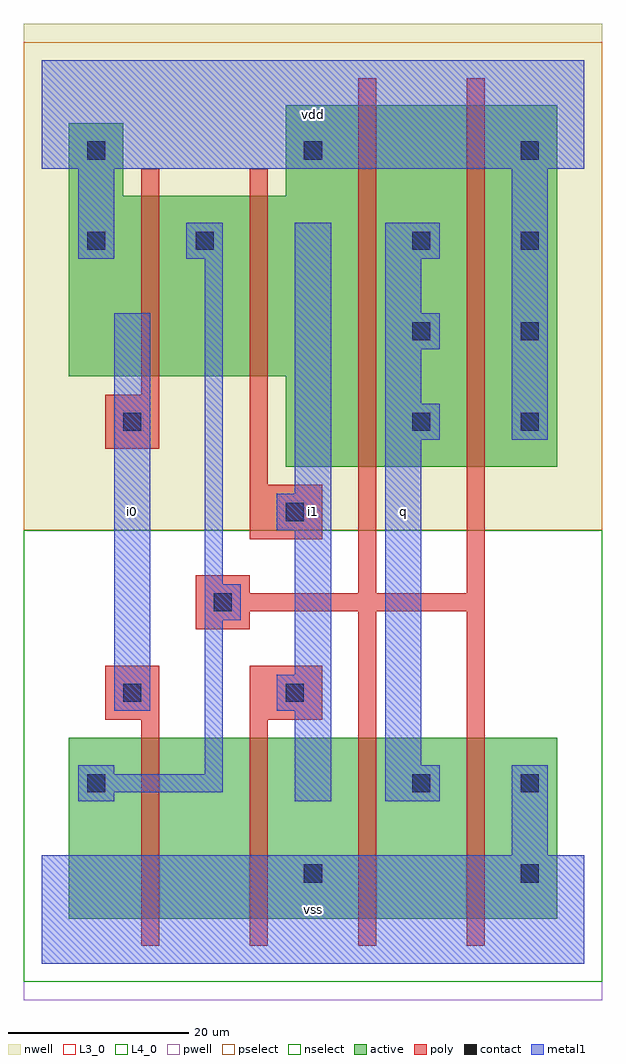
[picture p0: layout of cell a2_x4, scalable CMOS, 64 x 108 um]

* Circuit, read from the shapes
.subckt a2_x4 i0 i1 q vdd vss
M1 n1 i0 n2 VSUBS nfet w=20u l=2u
M2 vss i1 n1 VSUBS nfet w=20u l=2u
M3 q n2 vss VSUBS nfet w=20u l=2u m=2
M4 n2 i0 vdd n3 pfet w=20u l=2u
M5 vdd i1 n2 n3 pfet w=20u l=2u
M6 q n2 vdd n3 pfet w=40u l=2u m=2
.ends

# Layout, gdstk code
import gdstk
lib = gdstk.Library(unit=1e-6, precision=1e-09)
def R(c, l, rs):  # rectangles x0, y0, x1, y1
    for r in rs: c.add(gdstk.rectangle(r[:2], r[2:], *l))
def A(c, l, x, y, w, h, nx, ny, dx, dy):  # array of equal rectangles
    R(c, l, [(x+i*dx, y+j*dy, x+i*dx+w, y+j*dy+h) for i in range(nx) for j in range(ny)])
L3_0 = (3, 0)
L4_0 = (4, 0)
contact = (25, 0)
pwell = (41, 0)
nwell = (42, 0)
active = (43, 0)
pselect = (44, 0)
nselect = (45, 0)
poly = (46, 0)
metal1 = (49, 0)

a2_x4 = lib.new_cell('a2_x4')
R(a2_x4, L3_0, [(3,5,57,25)])
R(a2_x4, L4_0, [(27,55,57,65), (3,65,57,85), (3,85,9,93), (27,85,57,95)])
A(a2_x4, contact, 41, 59, 2, 2, 1, 3, 0, 10)
A(a2_x4, contact, 53, 59, 2, 2, 1, 3, 0, 10)
A(a2_x4, contact, 5, 89, 2, 2, 3, 1, 24, 0)
R(a2_x4, contact, [(29,9,31,11), (53,9,55,11), (5,19,7,21), (41,19,43,21), (53,19,55,21), (9,29,11,31), (27,29,29,31), (19,39,21,41), (27,49,29,51), (9,59,11,61), (5,79,7,81), (17,79,19,81)])
R(a2_x4, pwell, [(-2,-4,62,48)])
R(a2_x4, nwell, [(-2,48,62,104)])
R(a2_x4, active, [(3,5,57,25), (27,55,57,65), (3,65,57,85), (3,85,9,93), (27,85,57,95)])
R(a2_x4, pselect, [(-2,48,62,102)])
R(a2_x4, nselect, [(-2,-2,62,48)])
R(a2_x4, poly, [(11,2,13,27), (23,2,25,27), (35,2,37,39), (47,2,49,39), (7,27,13,33), (23,27,31,33), (17,37,23,39), (17,39,49,41), (17,41,23,43), (35,41,37,98), (47,41,49,98), (23,47,31,53), (23,53,25,88), (7,57,13,63), (11,63,13,88)])
A(a2_x4, metal1, 38, 58, 6, 4, 1, 3, 0, 10)
R(a2_x4, metal1, [(0,0,60,12), (52,12,56,22), (4,18,8,19), (28,18,32,28), (38,18,44,22), (4,19,20,21), (4,21,8,22), (18,21,20,38), (38,22,42,58), (8,28,12,72), (26,28,32,32), (28,32,32,48), (18,38,22,42), (18,42,20,78), (26,48,32,52), (28,52,32,82), (52,58,56,88), (38,62,42,68), (38,72,42,78), (4,78,8,88), (16,78,20,82), (0,88,60,100)])
a2_x4.add(gdstk.Label('i0', (10,50), layer=49, texttype=0))
a2_x4.add(gdstk.Label('vss', (30,6), layer=49, texttype=0))
a2_x4.add(gdstk.Label('q', (40,50), layer=49, texttype=0))
a2_x4.add(gdstk.Label('i1', (30,50), layer=49, texttype=0))
a2_x4.add(gdstk.Label('vdd', (30,94), layer=49, texttype=0))

lib.write_gds('a2_x4.gds')
